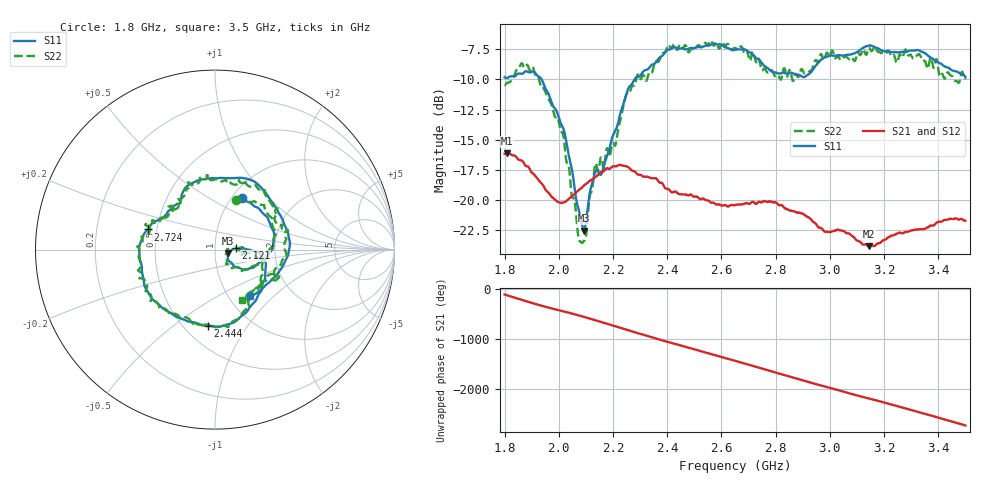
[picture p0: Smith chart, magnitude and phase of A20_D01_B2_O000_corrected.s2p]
! Created with skrf 1.9.0 (http://scikit-rf.org).
# Hz S RI R 50.0
!freq ReS11 ImS11 ReS21 ImS21 ReS12 ImS12 ReS22 ImS22
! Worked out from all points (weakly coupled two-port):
!   1601 points, 1.8 GHz to 3.5 GHz, reference 50 ohm
!   highest |S21| = -16.13 dB at 1.81 GHz (marker M1); lowest = -23.8 dB at 3.144 GHz (marker M2)
!   lowest |S11| = -22.6 dB at 2.092 GHz (marker M3), VSWR 1.16, Z = 57.6 - j2.51 ohm
!   |S11| at or under -10 dB: 1.937 GHz to 2.279 GHz (342.3 MHz wide, 16.2 % of centre)
!   |S22| runs from -23.6 to -6.8 dB; largest |S21 - S12| = 0.003
!   S11 on the Smith chart (normalised r, x): 1.8 GHz: 1.11, +0.71; 2.121 GHz: 1.26, +0.02; 2.444 GHz: 0.65, -0.67; 2.724 GHz: 0.44, +0.12; 3.5 GHz: 1.25, -0.72
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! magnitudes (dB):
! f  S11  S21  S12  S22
! 1.8 GHz  -9.8  -16.2  -16.2  -10.5
! 1.81 GHz  -9.9  -16.1  -16.1  -10.3
! 1.9 GHz  -9.4  -17.7  -17.6  -9.0
! 1.967 GHz  -11.5  -19.5  -19.6  -11.8
! 2.015 GHz  -14.0  -20.2  -20.3  -14.4
! 2.084 GHz  -21.8  -19.0  -19.0  -23.5
! 2.092 GHz  -22.6  -18.8  -18.9  -23.4
! 2.121 GHz  -18.8  -18.3  -18.3  -19.3
! 2.136 GHz  -17.6  -18.1  -18.1  -17.0
! 2.159 GHz  -17.8  -17.7  -17.6  -16.7
! 2.209 GHz  -14.2  -17.2  -17.2  -15.4
! 2.258 GHz  -10.7  -17.3  -17.3  -11.2
! 2.367 GHz  -8.3  -18.4  -18.4  -8.5
! 2.444 GHz  -7.4  -19.5  -19.5  -7.2
! 2.65 GHz  -7.5  -20.4  -20.4  -7.4
! 2.724 GHz  -8.1  -20.3  -20.3  -8.4
! 2.813 GHz  -9.5  -20.4  -20.3  -9.8
! 2.934 GHz  -9.3  -21.7  -21.7  -9.2
! 3.144 GHz  -7.2  -23.8  -23.8  -7.4
! 3.217 GHz  -7.7  -23.1  -23.1  -7.6
! 3.328 GHz  -7.6  -22.5  -22.5  -7.9
! 3.5 GHz  -9.8  -21.7  -21.7  -9.8
